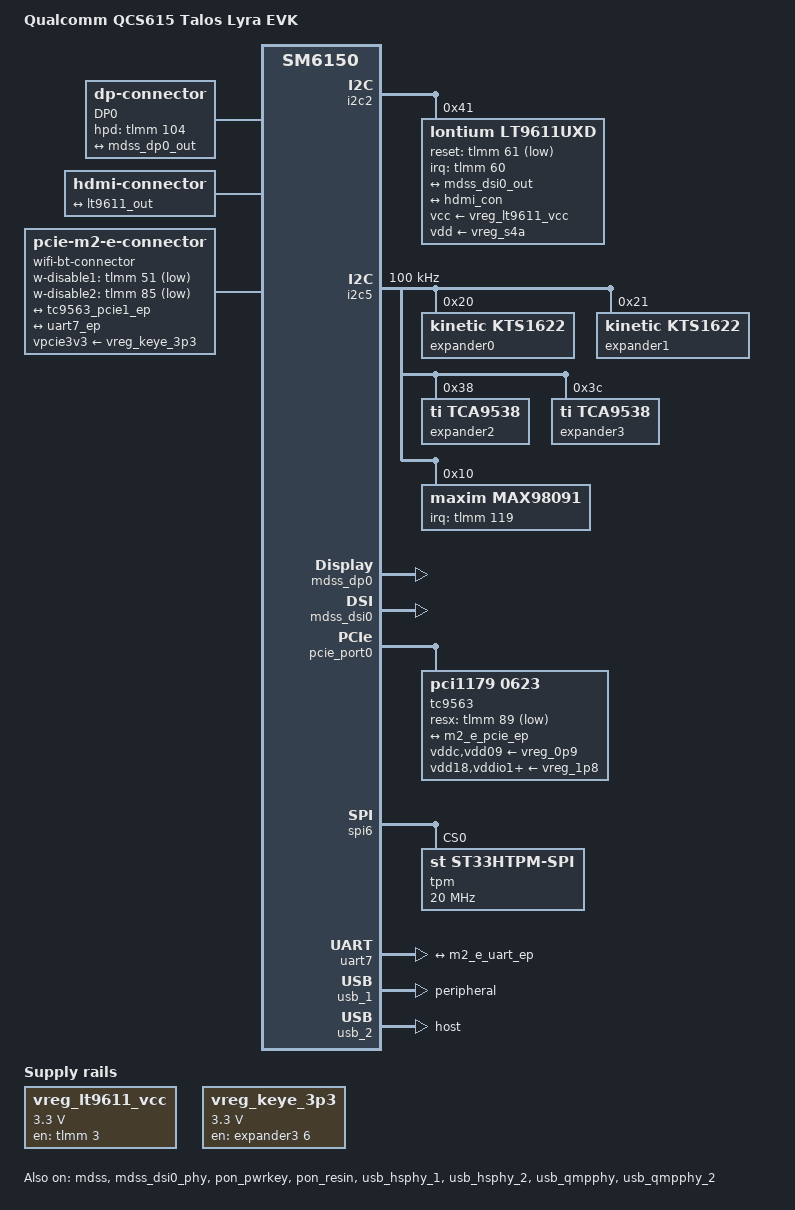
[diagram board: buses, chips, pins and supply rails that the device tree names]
// SPDX-License-Identifier: BSD-3-Clause
/*
 * Copyright (c) Qualcomm Technologies, Inc. and/or its subsidiaries.
 */
/dts-v1/;

#include <dt-bindings/pinctrl/qcom,pmic-gpio.h>
#include "talos-lyra-evk-som.dtsi"

/ {
	model = "Qualcomm QCS615 Talos Lyra EVK";
	compatible = "qcom,talos-lyra-evk", "qcom,talos-lyra-evk-som", "qcom,qcs615",
		     "qcom,sm6150";
	chassis-type = "embedded";

	aliases {
		serial1 = &uart7;
	};

	dp0-connector {
		compatible = "dp-connector";
		label = "DP0";
		type = "full-size";

		hpd-gpios = <&tlmm 104 GPIO_ACTIVE_HIGH>;

		port {
			dp0_connector_in: endpoint {
				remote-endpoint = <&mdss_dp0_out>;
			};
		};
	};

	hdmi-connector {
		compatible = "hdmi-connector";
		type = "a";

		port {
			hdmi_con: endpoint {
				remote-endpoint = <&lt9611_out>;
			};
		};
	};

	vreg_lt9611_vcc: regulator-lt9611-vcc {
		compatible = "regulator-fixed";
		regulator-name = "lt9611_vcc";
		regulator-min-microvolt = <3300000>;
		regulator-max-microvolt = <3300000>;
		gpio = <&tlmm 3 GPIO_ACTIVE_HIGH>;
		enable-active-high;
		pinctrl-0 = <&lt9611_vcc_pin>;
		pinctrl-names = "default";
	};

	vreg_keye_3p3: regulator-keye-3p3 {
		compatible = "regulator-fixed";
		regulator-name = "vreg_keye_3p3";
		regulator-min-microvolt = <3300000>;
		regulator-max-microvolt = <3300000>;
		gpio = <&expander3 6 GPIO_ACTIVE_HIGH>;
		enable-active-high;
		regulator-boot-on;
	};

	wifi-bt-connector {
		compatible = "pcie-m2-e-connector";
		vpcie3v3-supply = <&vreg_keye_3p3>;

		w-disable1-gpios = <&tlmm 51 GPIO_ACTIVE_LOW>;
		w-disable2-gpios = <&tlmm 85 GPIO_ACTIVE_LOW>;

		pinctrl-0 = <&wcn_wlan_en>, <&wcn_bt_en>;
		pinctrl-names = "default";

		ports {
			#address-cells = <1>;
			#size-cells = <0>;

			port@0 {
				reg = <0>;
				#address-cells = <1>;
				#size-cells = <0>;

				m2_e_pcie_ep: endpoint@0 {
					reg = <0>;
					remote-endpoint = <&tc9563_pcie1_ep>;
				};
			};

			port@3 {
				reg = <3>;
				#address-cells = <1>;
				#size-cells = <0>;

				m2_e_uart_ep: endpoint@0 {
					reg = <0>;
					remote-endpoint = <&uart7_ep>;
				};
			};
		};
	};

	sound {
		compatible = "qcom,talos-lyra-sndcard";
		model = "qcs615-snd-card";

		pinctrl-names = "default";
		pinctrl-0 = <&lpi_spkr_i2s_mclk_a>, <&lpi_i2s1_clk>, <&lpi_i2s1_data>, <&lpi_i2s1_ws>;

		sec-mi2s-playback-dai-link {
			link-name = "Secondary MI2S Playback";

			cpu {
				sound-dai = <&q6apmbedai SECONDARY_MI2S_RX>;
			};

			codec {
				sound-dai = <&max98091>;
			};

			platform {
				sound-dai = <&q6apm>;
			};
		};

		sec-mi2s-capture-dai-link {
			link-name = "Secondary MI2S Capture";

			cpu {
				sound-dai = <&q6apmbedai SECONDARY_MI2S_TX>;
			};

			codec {
				sound-dai = <&max98091>;
			};

			platform {
				sound-dai = <&q6apm>;
			};
		};
	};
};

&i2c2 {
	status = "okay";

	lt9611uxd: lt9611uxd@41 {
		compatible = "lontium,lt9611uxd";
		reg = <0x41>;
		interrupts-extended = <&tlmm 60 IRQ_TYPE_EDGE_FALLING>;
		reset-gpios = <&tlmm 61 GPIO_ACTIVE_LOW>;
		vcc-supply = <&vreg_lt9611_vcc>;
		vdd-supply = <&vreg_s4a>;

		pinctrl-0 = <&lt9611_irq_pin &lt9611_rst_pin>;
		pinctrl-names = "default";

		ports {
			#address-cells = <1>;
			#size-cells = <0>;

			port@0 {
				reg = <0>;

				lt9611_a: endpoint {
					remote-endpoint = <&mdss_dsi0_out>;
				};
			};

			port@2 {
				reg = <2>;

				lt9611_out: endpoint {
					remote-endpoint = <&hdmi_con>;
				};
			};
		};
	};
};

&i2c5 {
	clock-frequency = <100000>;

	status = "okay";

	expander0: gpio@20 {
		compatible = "kinetic,kts1622", "ti,tcal6416";
		reg = <0x20>;
		#gpio-cells = <2>;
		gpio-controller;
	};

	expander1: gpio@21 {
		compatible = "kinetic,kts1622", "ti,tcal6416";
		reg = <0x21>;
		#gpio-cells = <2>;
		gpio-controller;
	};

	expander2: gpio@38 {
		compatible = "ti,tca9538";
		reg = <0x38>;
		#gpio-cells = <2>;
		gpio-controller;
	};

	expander3: gpio@3c {
		compatible = "ti,tca9538";
		reg = <0x3c>;
		#gpio-cells = <2>;
		gpio-controller;
	};

	max98091: max98091@10 {
		compatible = "maxim,max98091";
		reg = <0x10>;
		#sound-dai-cells = <0>;
		clock-names = "mclk";
		clocks = <&q6prmcc LPASS_CLK_ID_SPEAKER_I2S_OSR LPASS_CLK_ATTRIBUTE_COUPLE_NO>;
		interrupt-parent = <&tlmm>;
		interrupts = <119 IRQ_TYPE_NONE>;
		pinctrl-names = "default";
		pinctrl-0 = <&int_codec>;
	};
};

&mdss {
	status = "okay";
};

&mdss_dp0 {
	status = "okay";
};

&mdss_dp0_out {
	link-frequencies = /bits/ 64 <1620000000 2700000000 5400000000>;
	remote-endpoint = <&dp0_connector_in>;
};

&mdss_dsi0 {
	status = "okay";
};

&mdss_dsi0_out {
	remote-endpoint = <&lt9611_a>;
	data-lanes = <0 1 2 3>;
};

&mdss_dsi0_phy {
	status = "okay";
};

&pcie_port0 {
	tc9563: pcie@0,0 {
		compatible = "pci1179,0623";
		reg = <0x10000 0x0 0x0 0x0 0x0>;
		#address-cells = <3>;
		#size-cells = <2>;
		#gpio-cells = <2>;
		device_type = "pci";
		ranges;
		bus-range = <0x2 0xff>;

		vddc-supply = <&vreg_0p9>;
		vdd18-supply = <&vreg_1p8>;
		vdd09-supply = <&vreg_0p9>;
		vddio1-supply = <&vreg_1p8>;
		vddio2-supply = <&vreg_1p8>;
		vddio18-supply = <&vreg_1p8>;

		i2c-parent = <&i2c5 0x77>;

		resx-gpios = <&tlmm 89 GPIO_ACTIVE_LOW>;

		pinctrl-0 = <&tc9563_resx_state>;
		pinctrl-names = "default";

		pcie@1,0 {
			reg = <0x20800 0x0 0x0 0x0 0x0>;
			#address-cells = <3>;
			#size-cells = <2>;
			compatible = "pciclass,0604";
			device_type = "pci";
			ranges;
			bus-range = <0x3 0xff>;

			ep-pwr-en-gpio = <&tc9563 2 GPIO_ACTIVE_HIGH>;
			ep-reset-gpio = <&tc9563 5 GPIO_ACTIVE_HIGH>;

			port {
				tc9563_pcie1_ep: endpoint {};
			};
		};

		pcie@2,0 {
			reg = <0x21000 0x0 0x0 0x0 0x0>;
			#address-cells = <3>;
			#size-cells = <2>;
			device_type = "pci";
			ranges;
			bus-range = <0x4 0xff>;

			ep-pwr-en-gpio = <&tc9563 4 GPIO_ACTIVE_HIGH>;
			ep-reset-gpio = <&tc9563 3 GPIO_ACTIVE_HIGH>;
		};

		pcie@3,0 {
			reg = <0x21800 0x0 0x0 0x0 0x0>;
			#address-cells = <3>;
			#size-cells = <2>;
			device_type = "pci";
			ranges;
			bus-range = <0x5 0xff>;

			pci@0,0 {
				reg = <0x50000 0x0 0x0 0x0 0x0>;
				#address-cells = <3>;
				#size-cells = <2>;
				device_type = "pci";
				ranges;
			};

			pci@0,1 {
				reg = <0x50100 0x0 0x0 0x0 0x0>;
				#address-cells = <3>;
				#size-cells = <2>;
				device_type = "pci";
				ranges;
			};
		};
	};
};

&pon_pwrkey {
	status = "okay";
};

&pon_resin {
	linux,code = <KEY_VOLUMEDOWN>;

	status = "okay";
};

&soc {
	lpass_tlmm: pinctrl@62B40000 {
		compatible = "qcom,qcs615-lpass-lpi-pinctrl";
		reg = <0x0 0x62B40000 0x0 0x20000>,
		      <0x0 0x62B00000 0x0 0x10000>;

		clocks = <&q6prmcc LPASS_HW_MACRO_VOTE LPASS_CLK_ATTRIBUTE_COUPLE_NO>;
		clock-names = "core";

		gpio-controller;
		#gpio-cells = <2>;
		gpio-ranges = <&lpass_tlmm 0 0 32>;
	};
};

&lpass_tlmm {
	lpi_spkr_i2s_mclk_a: lpi-spkr-i2s-mclk-a-state {
		pins = "gpio19";
		function = "spkr_i2s_mclk_a";
		drive-strength = <16>;
		bias-disable;
		output-high;
	};

	lpi_i2s1_clk: lpi-i2s1-clk-state {
		pins = "gpio8";
		function = "i2s1_clk";
		drive-strength = <8>;
		bias-disable;
		output-high;
	};

	lpi_i2s1_clk_sleep: lpi-i2s1-clk-sleep-state {
		pins = "gpio8";
		function = "i2s1_clk";
		drive-strength = <2>;
		bias-pull-down;
		input-enable;
	};

	lpi_i2s1_data: lpi-i2s1-data-state {
		pins = "gpio10", "gpio11";
		function = "i2s1_data";
		drive-strength = <8>;
		bias-disable;
		output-high;
	};

	lpi_i2s1_data_sleep: lpi-i2s1-data-sleep-state {
		pins = "gpio10", "gpio11";
		function = "i2s1_data";
		drive-strength = <2>;
		bias-pull-down;
		input-enable;
	};

	lpi_i2s1_ws: lpi-i2s1-ws-state {
		pins = "gpio9";
		function = "i2s1_ws";
		drive-strength = <8>;
		bias-disable;
		output-high;
	};

	lpi_i2s1_ws_sleep: lpi-i2s1-ws-sleep-state {
		pins = "gpio9";
		function = "i2s1_ws";
		drive-strength = <2>;
		bias-pull-down;
		input-enable;
	};
};

&spi6 {
	status = "okay";

	tpm@0 {
		compatible = "st,st33htpm-spi", "tcg,tpm_tis-spi";
		reg = <0>;
		spi-max-frequency = <20000000>;
	};
};

&tc9563_pcie1_ep {
	remote-endpoint = <&m2_e_pcie_ep>;
};

&tlmm {
	int_codec: gpio-irq-state {
		pins = "gpio119";
		function = "gpio";
	};

	lt9611_irq_pin: lt9611-irq-state {
		pins = "gpio60";
		function = "gpio";
		drive-strength = <2>;
		bias-disable;
	};

	lt9611_rst_pin: lt9611-rst-state {
		pins = "gpio61";
		function = "gpio";
		drive-strength = <8>;
		bias-disable;
	};

	lt9611_vcc_pin: lt9611-vcc-state {
		pins = "gpio3";
		function = "gpio";
		drive-strength = <8>;
		bias-disable;
	};

	pcie_default_state: pcie-default-state {
		clkreq-pins {
			pins = "gpio90";
			function = "pcie_clk_req";
			drive-strength = <2>;
			bias-pull-up;
		};

		wake-pins {
			pins = "gpio100";
			function = "gpio";
			drive-strength = <2>;
			bias-pull-up;
		};
	};

	tc9563_resx_state: tc9563-resx-state {
		pins = "gpio89";
		function = "gpio";
		drive-strength = <2>;
		bias-disable;
	};

	wcn_wlan_en: wcn-wlan-en-state {
		pins = "gpio51";
		function = "gpio";
		drive-strength = <2>;
		bias-disable;
	};

	wcn_bt_en: wcn-bt-en-state {
		pins = "gpio85";
		function = "gpio";
		drive-strength = <2>;
		bias-disable;
	};
};

&uart7 {
	status = "okay";

	port {
		uart7_ep: endpoint {
			remote-endpoint = <&m2_e_uart_ep>;
		};
	};
};

&usb_1 {
	dr_mode = "peripheral";

	status = "okay";
};

&usb_hsphy_1 {
	vdd-supply = <&vreg_l5a>;
	vdda-pll-supply = <&vreg_l12a>;
	vdda-phy-dpdm-supply = <&vreg_l13a>;

	status = "okay";
};

&usb_2 {
	dr_mode = "host";

	status = "okay";
};

&usb_hsphy_2 {
	vdd-supply = <&vreg_l5a>;
	vdda-pll-supply = <&vreg_l12a>;
	vdda-phy-dpdm-supply = <&vreg_l13a>;

	status = "okay";
};

&usb_qmpphy {
	vdda-phy-supply = <&vreg_l5a>;
	vdda-pll-supply = <&vreg_l12a>;

	status = "okay";
};

&usb_qmpphy_2 {
	vdda-phy-supply = <&vreg_l5a>;
	vdda-pll-supply = <&vreg_l12a>;

	status = "okay";
};
